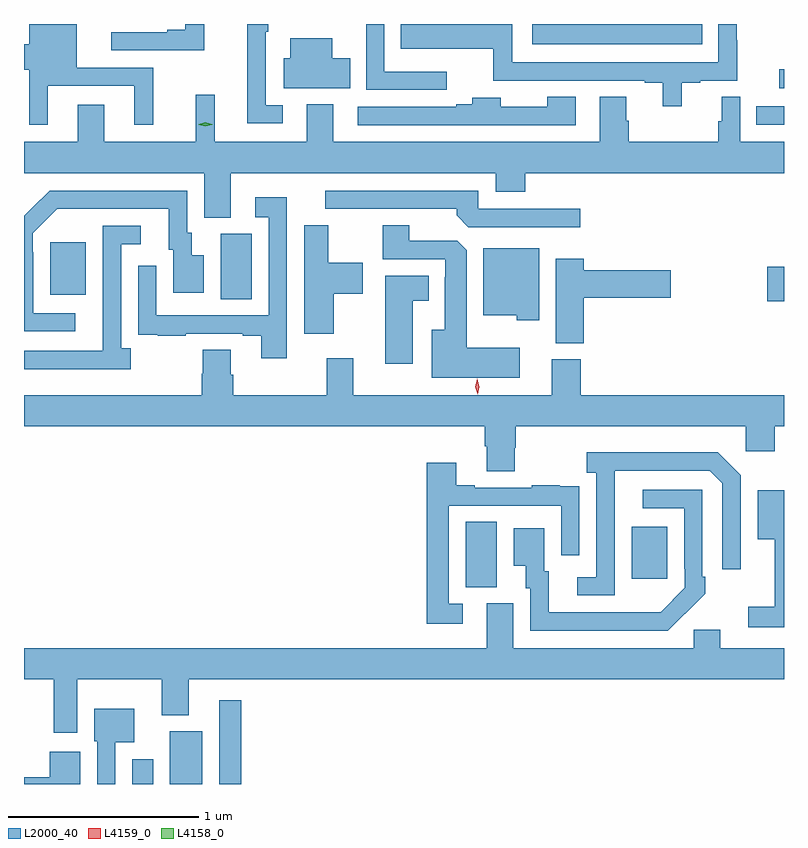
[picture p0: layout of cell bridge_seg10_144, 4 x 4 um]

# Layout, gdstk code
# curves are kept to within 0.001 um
import gdstk
lib = gdstk.Library(unit=1e-6, precision=1e-09)
def R(c, l, rs):  # rectangles x0, y0, x1, y1
    for r in rs: c.add(gdstk.rectangle(r[:2], r[2:], *l))
def P(c, l, *ps):  # polygons
    for p in ps: c.add(gdstk.Polygon(p, *l))
L2000_40 = (2000, 40)
L4158_0 = (4158, 0)
L4159_0 = (4159, 0)

bridge_seg10_144 = lib.new_cell('bridge_seg10_144')
R(bridge_seg10_144, L2000_40, [(322.739,1253.145,322.849,1253.275), (322.937,1253.145,323.107,1253.422), (323.196,1253.145,323.312,1253.587), (324.494,1254.181,324.658,1254.524), (325.367,1254.225,325.555,1254.499), (326.082,1255.685,326.169,1255.868), (323.204,1255.696,323.368,1256.04), (322.307,1255.721,322.495,1255.996), (326.023,1256.616,326.169,1256.712), (326.145,1256.808,326.169,1256.907), (324.843,1257.038,325.739,1257.145)])
P(bridge_seg10_144, L2000_40, [(324.394,1256.895),(324.066,1256.895),(324.066,1257.145),(323.97,1257.145),(323.97,1256.799),(324.394,1256.799)],
  [(323.118,1257.145),(323.018,1257.145),(323.018,1257.115),(322.922,1257.115),(322.922,1257.102),(322.629,1257.102),(322.629,1257.006),(323.118,1257.006)],
  [(323.53,1256.718),(323.442,1256.718),(323.442,1257.104),(323.455,1257.104),(323.455,1257.145),(323.344,1257.145),(323.344,1256.622),(323.53,1256.622)],
  [(325.631,1256.835),(325.727,1256.835),(325.727,1256.847),(325.923,1256.847),(325.923,1257.059),(325.92,1257.059),(325.92,1257.145),(325.824,1257.145),(325.824,1256.943),(324.738,1256.943),(324.738,1257.145),(324.151,1257.145),(324.151,1257.016),(324.259,1257.016),(324.259,1257.014),(324.64,1257.014),(324.64,1256.847),(325.436,1256.847),(325.436,1256.835),(325.532,1256.835),(325.532,1256.712),(325.631,1256.712)],
  [(322.294,1256.82),(322.748,1256.82),(322.748,1256.616),(322.848,1256.616),(322.848,1256.916),(322.447,1256.916),(322.447,1257.145),(322.196,1257.145),(322.196,1257.038),(322.169,1257.038),(322.169,1256.903),(322.196,1256.903),(322.196,1256.616),(322.294,1256.616)],
  [(323.885,1256.965),(323.791,1256.965),(323.791,1257.07),(323.57,1257.07),(323.57,1256.965),(323.537,1256.965),(323.537,1256.807),(323.885,1256.807)],
  [(323.257,1256.36),(324.653,1256.36),(324.653,1256.261),(324.806,1256.261),(324.806,1256.36),(326.169,1256.36),(326.169,1256.524),(325.938,1256.524),(325.938,1256.761),(325.841,1256.761),(325.841,1256.634),(325.822,1256.634),(325.822,1256.524),(325.352,1256.524),(325.352,1256.637),(325.339,1256.637),(325.339,1256.762),(325.199,1256.762),(325.199,1256.524),(323.797,1256.524),(323.797,1256.722),(323.657,1256.722),(323.657,1256.524),(323.173,1256.524),(323.173,1256.773),(323.074,1256.773),(323.074,1256.524),(322.591,1256.524),(322.591,1256.719),(322.451,1256.719),(322.451,1256.524),(322.169,1256.524),(322.169,1256.36),(323.117,1256.36),(323.117,1256.125),(323.257,1256.125)],
  [(325.072,1256.762),(324.923,1256.762),(324.923,1256.71),(324.679,1256.71),(324.679,1256.758),(324.527,1256.758),(324.527,1256.722),(324.443,1256.722),(324.443,1256.709),(323.925,1256.709),(323.925,1256.613),(325.072,1256.613)],
  [(322.438,1255.623),(322.218,1255.623),(322.218,1255.943),(322.215,1255.943),(322.215,1256.043),(322.344,1256.172),(322.931,1256.172),(322.931,1255.956),(322.955,1255.956),(322.955,1255.731),(323.116,1255.731),(323.116,1255.927),(323.053,1255.927),(323.053,1256.046),(323.028,1256.046),(323.028,1256.268),(322.304,1256.268),(322.169,1256.135),(322.169,1255.527),(322.438,1255.527)],
  [(325.096,1256.172),(324.561,1256.172),(324.561,1256.268),(323.754,1256.268),(323.754,1256.172),(324.446,1256.172),(324.446,1256.138),(324.507,1256.076),(325.096,1256.076)],
  [(323.553,1256.233),(323.385,1256.233),(323.385,1256.127),(323.457,1256.127),(323.457,1255.611),(322.866,1255.611),(322.866,1255.873),(322.77,1255.873),(322.77,1255.618),(322.771,1255.618),(322.771,1255.509),(322.873,1255.509),(322.873,1255.503),(323.021,1255.503),(323.021,1255.515),(323.321,1255.515),(323.321,1255.503),(323.417,1255.503),(323.417,1255.386),(323.553,1255.386)],
  [(324.778,1255.441),(324.499,1255.441),(324.499,1255.955),(324.45,1256.004),(324.196,1256.004),(324.196,1256.087),(324.056,1256.087),(324.056,1255.908),(324.387,1255.908),(324.387,1255.811),(324.383,1255.811),(324.383,1255.537),(324.314,1255.537),(324.314,1255.283),(324.778,1255.283)],
  [(323.8,1255.726),(323.953,1255.726),(323.953,1255.888),(323.77,1255.888),(323.77,1256.086),(323.645,1256.086),(323.645,1255.515),(323.8,1255.515)],
  [(322.732,1255.438),(322.68,1255.438),(322.68,1255.986),(322.783,1255.986),(322.783,1256.082),(322.584,1256.082),(322.584,1255.625),(322.583,1255.625),(322.583,1255.425),(322.169,1255.425),(322.169,1255.328),(322.732,1255.328)],
  [(324.88,1255.966),(324.587,1255.966),(324.587,1255.613),(324.762,1255.613),(324.762,1255.586),(324.88,1255.586)],
  [(325.115,1255.703),(325.573,1255.703),(325.573,1255.85),(325.115,1255.85),(325.115,1255.909),(324.968,1255.909),(324.968,1255.465),(325.115,1255.465)],
  [(324.214,1255.688),(324.298,1255.688),(324.298,1255.819),(324.071,1255.819),(324.071,1255.356),(324.214,1255.356)],
  [(324.753,1254.915),(324.758,1254.915),(324.758,1255.028),(325.968,1255.028),(325.968,1254.897),(326.12,1254.897),(326.12,1255.028),(326.169,1255.028),(326.169,1255.192),(325.1,1255.192),(325.1,1255.38),(324.947,1255.38),(324.947,1255.192),(323.902,1255.192),(323.902,1255.387),(323.762,1255.387),(323.762,1255.192),(323.27,1255.192),(323.27,1255.298),(323.257,1255.298),(323.257,1255.43),(323.11,1255.43),(323.11,1255.305),(323.105,1255.305),(323.105,1255.192),(322.169,1255.192),(322.169,1255.028),(324.593,1255.028),(324.593,1254.922),(324.605,1254.922),(324.605,1254.79),(324.753,1254.79)],
  [(325.278,1254.595),(325.279,1254.795),(325.779,1254.795),(325.845,1254.729),(325.845,1254.276),(325.941,1254.276),(325.941,1254.771),(325.82,1254.892),(325.131,1254.892),(325.131,1254.782),(325.182,1254.782),(325.182,1254.234),(325.08,1254.234),(325.08,1254.138),(325.278,1254.138)],
  [(324.478,1254.093),(324.405,1254.093),(324.405,1254.609),(324.996,1254.609),(324.996,1254.348),(325.092,1254.348),(325.092,1254.602),(325.091,1254.602),(325.091,1254.711),(324.989,1254.711),(324.989,1254.718),(324.841,1254.718),(324.841,1254.705),(324.541,1254.705),(324.541,1254.718),(324.445,1254.718),(324.445,1254.835),(324.289,1254.835),(324.289,1253.988),(324.478,1253.988)],
  [(325.649,1254.043),(325.65,1254.042),(325.755,1254.147),(325.755,1254.235),(325.74,1254.235),(325.74,1254.693),(325.425,1254.693),(325.425,1254.597),(325.644,1254.597),(325.644,1254.277),(325.647,1254.277),(325.647,1254.177),(325.519,1254.049),(324.931,1254.048),(324.931,1254.264),(324.907,1254.264),(324.907,1254.49),(324.746,1254.49),(324.746,1254.293),(324.809,1254.293),(324.809,1254.174),(324.834,1254.174),(324.834,1253.952),(325.558,1253.952)],
  [(326.169,1254.691),(326.03,1254.691),(326.03,1254.434),(326.12,1254.434),(326.12,1254.079),(325.98,1254.079),(325.98,1253.97),(326.169,1253.97)],
  [(322.45,1253.696),(322.895,1253.696),(322.895,1253.507),(323.035,1253.507),(323.035,1253.696),(326.169,1253.696),(326.169,1253.86),(325.834,1253.86),(325.834,1253.958),(325.695,1253.958),(325.695,1253.86),(324.745,1253.86),(324.745,1254.096),(324.605,1254.096),(324.605,1253.86),(322.169,1253.86),(322.169,1253.696),(322.325,1253.696),(322.325,1253.415),(322.45,1253.415)],
  [(322.65,1253.366),(322.75,1253.366),(322.75,1253.542),(322.538,1253.542),(322.538,1253.37),(322.554,1253.37),(322.554,1253.145),(322.65,1253.145)],
  [(322.465,1253.314),(322.304,1253.314),(322.304,1253.18),(322.169,1253.18),(322.169,1253.145),(322.465,1253.145)])
P(bridge_seg10_144, L4158_0, [(323.123,1256.607),(323.088,1256.616),(323.088,1256.617),(323.088,1256.617),(323.123,1256.627),(323.159,1256.617),(323.159,1256.617),(323.159,1256.616)])
P(bridge_seg10_144, L4159_0, [(324.556,1255.196),(324.556,1255.196),(324.545,1255.237),(324.554,1255.278),(324.555,1255.278),(324.555,1255.278),(324.565,1255.237),(324.556,1255.196)])

lib.write_gds('bridge_seg10_144.gds')
